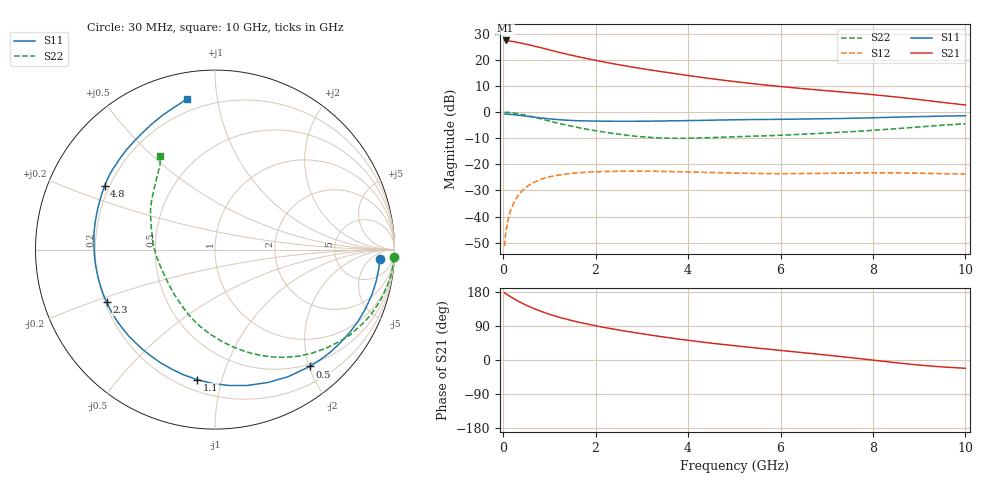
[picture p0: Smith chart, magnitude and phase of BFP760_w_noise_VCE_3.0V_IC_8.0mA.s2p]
! Infineon Technologies  Discrete & RF Semiconductors
! BFP760
! VCE =  3.0 V,  IC =  8.0 mA
! Common Emitter S-Parameters:  Nov 2012
# GHz  S  MA  R  50
!  f  S11  S21  S12  S22
! GHz  MAG  ANG  MAG  ANG  MAG  ANG  MAG  ANG
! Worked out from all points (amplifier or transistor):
!   99 points, 30 MHz to 10 GHz, reference 50 ohm
!   highest |S21| = 27.5 dB at 50 MHz (marker M1)
!   |S21| within 3 dB of that: start of sweep to 865.2 MHz
!   unconditionally stable (mu >= 1): 5.689 GHz to end of sweep
!   at 350 MHz: K = 0.11, MSG = 29.0 dB, |S12| = -31.3 dB
!   at 3.5 GHz: K = 0.61, MSG = 19.0 dB, |S12| = -22.7 dB
!   at 10 GHz: K = 1.21, MAG = 10.5 dB, |S12| = -23.6 dB
!   lowest NFmin = 0.46 dB at 900 MHz
!   S11 on the Smith chart (normalised r, x): 30 MHz: 16, -12; 500 MHz: 0.46, -2.01; 1.1 GHz: 0.27, -0.83; 2.3 GHz: 0.21, -0.22; 4.8 GHz: 0.18, +0.26; 10 GHz: 0.13, +0.82
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0.03  0.922 -3.4  23.38 177.3  0.0027 80.5  0.9977 -2.5
0.05  0.9186 -5.5  23.71 175.3  0.0045 78.6  0.9949 -3.9
0.15  0.9087 -16.4  23.05 167.6  0.0124 80.3  0.9813 -11.6
0.25  0.8914 -26.8  22.3 160.3  0.0199 74.4  0.9558 -19.0
0.4  0.8595 -41.8  21 150.5  0.0306 66.3  0.905 -29.2
0.5  0.838 -51.0  20.04 144.6  0.0367 61.1  0.868 -35.6
0.6  0.8168 -60.1  19.13 139.1  0.042 56.5  0.8282 -41.5
0.8  0.7778 -76.8  17.37 129.2  0.0512 48.5  0.7509 -52.4
1  0.7457 -91.2  15.63 120.7  0.0576 41.6  0.6768 -62.1
1.1  0.7311 -97.9  14.85 116.9  0.0602 38.6  0.6422 -66.6
1.4  0.7 -115.5  12.79 106.7  0.0658 31.2  0.5579 -78.5
1.7  0.6823 -130.5  11.18 98.0  0.0696 25.3  0.4911 -89.3
2  0.6761 -143.1  9.874 90.4  0.0719 20.5  0.441 -99.8
2.3  0.6707 -154.0  8.753 83.4  0.0731 16.3  0.4002 -109.4
2.7  0.6693 -166.7  7.577 75.0  0.0738 12.0  0.3591 -122.1
3.4  0.6773 174.8  6.034 61.9  0.0732 6.3  0.3212 -144.0
4.1  0.6927 160.4  4.904 50.4  0.0713 2.5  0.3183 -163.2
4.8  0.7097 150.0  4.058 40.4  0.0688 0.5  0.3324 -177.0
5.1  0.7167 146.4  3.775 36.5  0.0679 0.0  0.3399 178.3
6.7  0.7437 131.4  2.721 16.7  0.0668 0.4  0.386 157.6
8.5  0.8033 111.4  1.958 -7.2  0.0686 -2.7  0.4817 134.6
10  0.8549 100.6  1.375 -21.9  0.0658 -2.6  0.602 120.5
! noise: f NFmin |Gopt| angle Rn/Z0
0.9  0.46  0.29  26  0.1
1.8  0.52  0.23  54  0.09
2.4  0.57  0.18  81  0.09
3.5  0.75  0.16  119  0.08
5.5  0.95  0.3  -146  0.08
8  1.43  0.42  -98  0.24
